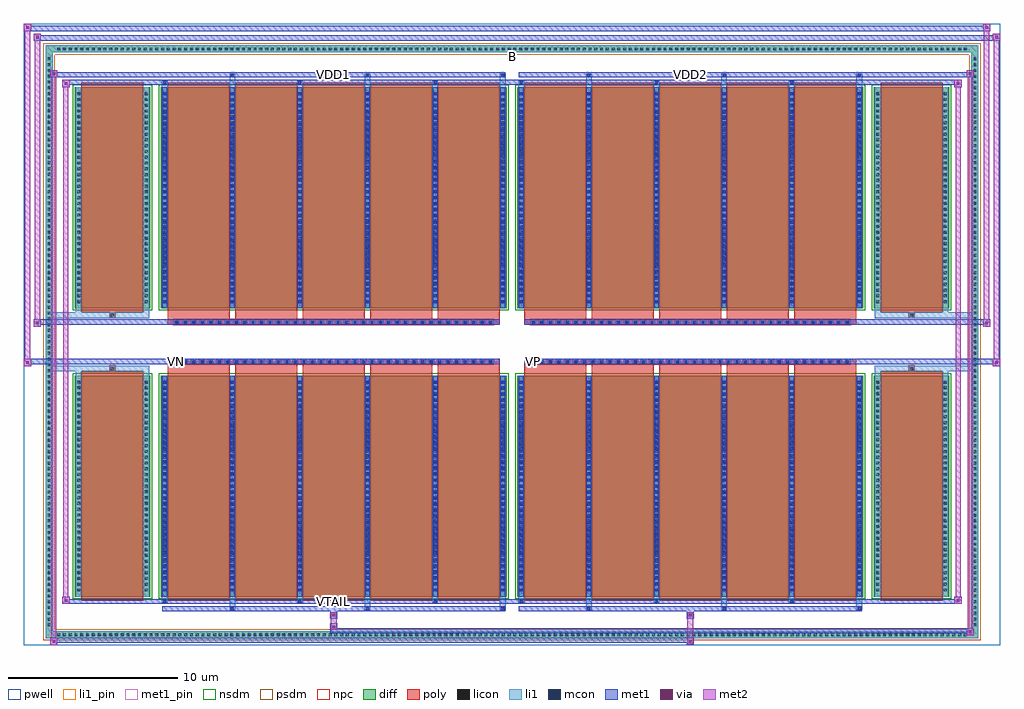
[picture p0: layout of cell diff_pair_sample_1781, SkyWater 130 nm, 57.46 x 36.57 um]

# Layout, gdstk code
import gdstk
lib = gdstk.Library(unit=1e-6, precision=5e-09)
def R(c, l, rs):  # rectangles x0, y0, x1, y1
    for r in rs: c.add(gdstk.rectangle(r[:2], r[2:], *l))
def A(c, l, x, y, w, h, nx, ny, dx, dy):  # array of equal rectangles
    R(c, l, [(x+i*dx, y+j*dy, x+i*dx+w, y+j*dy+h) for i in range(nx) for j in range(ny)])
def P(c, l, *ps):  # polygons
    for p in ps: c.add(gdstk.Polygon(p, *l))
pwell = (64, 44)
diff = (65, 20)
poly = (66, 20)
licon = (66, 44)
li1_pin = (67, 16)
li1 = (67, 20)
mcon = (67, 44)
met1_pin = (68, 16)
met1 = (68, 20)
via = (68, 44)
met2 = (69, 20)
nsdm = (93, 44)
psdm = (94, 20)
npc = (95, 20)

diff_pair_sample_1781 = lib.new_cell('diff_pair_sample_1781')
R(diff_pair_sample_1781, pwell, [(-28.73,-17.85,28.73,18.72), (-26.05,-16.04,-0.01,-0.8), (0.01,-16.04,26.05,-0.8), (-26.05,0.8,-0.01,16.04), (0.01,0.8,26.05,16.04)])
A(diff_pair_sample_1781, diff, -26.895, -17.45, 0.41, 0.41, 158, 2, 0.34, 34.49)
A(diff_pair_sample_1781, diff, -27.46, -16.865, 0.41, 0.41, 1, 99, 0, 0.34)
A(diff_pair_sample_1781, diff, 27.05, -16.865, 0.41, 0.41, 1, 99, 0, 0.34)
R(diff_pair_sample_1781, diff, [(-26.895,-17.45,26.895,-17.04), (-27.46,-16.865,-27.05,16.865), (27.05,-16.865,27.46,16.865), (-25.74,-14.995,-21.31,-1.985), (-20.67,-14.995,-0.32,-1.985), (0.32,-14.995,20.67,-1.985), (21.31,-14.995,25.74,-1.985), (-25.74,1.985,-21.31,14.995), (-20.67,1.985,-0.32,14.995), (0.32,1.985,20.67,14.995), (21.31,1.985,25.74,14.995), (-26.895,17.04,26.895,17.45)])
P(diff_pair_sample_1781, diff, [(27.46,17.45),(-27.46,17.45),(-27.46,-17.04),(-27.05,-17.04),(-27.05,17.04),(27.05,17.04),(27.05,-17.04),(-27.05,-17.04),(-27.46,-17.04),(-27.46,-17.45),(27.46,-17.45)])
A(diff_pair_sample_1781, poly, -20.28, -15.245, 3.65, 13.51, 5, 2, 3.98, 16.98)
A(diff_pair_sample_1781, poly, 0.71, -15.245, 3.65, 13.51, 5, 2, 3.98, 16.98)
A(diff_pair_sample_1781, poly, -20.28, -1.735, 3.65, 0.405, 5, 2, 3.98, 3.065)
A(diff_pair_sample_1781, poly, 0.71, -1.735, 3.65, 0.405, 5, 2, 3.98, 3.065)
A(diff_pair_sample_1781, poly, -19.91, -1.33, 0.33, 0.33, 38, 2, 0.5, 2.33)
A(diff_pair_sample_1781, poly, 1.08, -1.33, 0.33, 0.33, 38, 2, 0.5, 2.33)
R(diff_pair_sample_1781, poly, [(-25.35,-15.245,-21.7,-1.735), (21.7,-15.245,25.35,-1.735), (-23.69,-1.735,-23.36,-1.405), (-23.69,-1.735,-23.36,-1.405), (23.36,-1.735,23.69,-1.405), (23.36,-1.735,23.69,-1.405), (-20.28,-1.33,-0.71,-1), (0.71,-1.33,20.28,-1), (-20.28,1,-0.71,1.33), (0.71,1,20.28,1.33), (-23.69,1.405,-23.36,1.735), (-23.69,1.405,-23.36,1.735), (23.36,1.405,23.69,1.735), (23.36,1.405,23.69,1.735), (-25.35,1.735,-21.7,15.245), (21.7,1.735,25.35,15.245)])
A(diff_pair_sample_1781, licon, -26.775, -17.33, 0.17, 0.17, 158, 2, 0.34, 34.49)
A(diff_pair_sample_1781, licon, -27.34, -16.745, 0.17, 0.17, 1, 99, 0, 0.34)
A(diff_pair_sample_1781, licon, 27.17, -16.745, 0.17, 0.17, 1, 99, 0, 0.34)
A(diff_pair_sample_1781, licon, -25.6, -14.695, 0.17, 0.17, 1, 37, 0, 0.34)
A(diff_pair_sample_1781, licon, -21.62, -14.695, 0.17, 0.17, 1, 37, 0, 0.34)
A(diff_pair_sample_1781, licon, -20.53, -14.695, 0.17, 0.17, 6, 37, 3.98, 0.34)
A(diff_pair_sample_1781, licon, 0.46, -14.695, 0.17, 0.17, 6, 37, 3.98, 0.34)
A(diff_pair_sample_1781, licon, 21.45, -14.695, 0.17, 0.17, 1, 37, 0, 0.34)
A(diff_pair_sample_1781, licon, 25.43, -14.695, 0.17, 0.17, 1, 37, 0, 0.34)
A(diff_pair_sample_1781, licon, -19.83, -1.25, 0.17, 0.17, 38, 2, 0.5, 2.33)
A(diff_pair_sample_1781, licon, 1.16, -1.25, 0.17, 0.17, 38, 2, 0.5, 2.33)
A(diff_pair_sample_1781, licon, -25.6, 2.285, 0.17, 0.17, 1, 37, 0, 0.34)
A(diff_pair_sample_1781, licon, -21.62, 2.285, 0.17, 0.17, 1, 37, 0, 0.34)
A(diff_pair_sample_1781, licon, -20.53, 2.285, 0.17, 0.17, 6, 37, 3.98, 0.34)
A(diff_pair_sample_1781, licon, 0.46, 2.285, 0.17, 0.17, 6, 37, 3.98, 0.34)
A(diff_pair_sample_1781, licon, 21.45, 2.285, 0.17, 0.17, 1, 37, 0, 0.34)
A(diff_pair_sample_1781, licon, 25.43, 2.285, 0.17, 0.17, 1, 37, 0, 0.34)
R(diff_pair_sample_1781, licon, [(-23.61,-1.655,-23.44,-1.485), (23.44,-1.655,23.61,-1.485), (-23.61,1.485,-23.44,1.655), (23.44,1.485,23.61,1.655)])
R(diff_pair_sample_1781, li1_pin, [(-0.25,16.54,0.25,17.04)])
A(diff_pair_sample_1781, li1, -26.855, -17.41, 0.33, 0.33, 158, 2, 0.34, 34.49)
A(diff_pair_sample_1781, li1, -27.42, -16.825, 0.33, 0.33, 1, 99, 0, 0.34)
A(diff_pair_sample_1781, li1, 27.09, -16.825, 0.33, 0.33, 1, 99, 0, 0.34)
A(diff_pair_sample_1781, li1, -16.63, -15.8, 0.33, 0.805, 3, 2, 7.96, 30.795)
A(diff_pair_sample_1781, li1, -16.55, -15.8, 0.17, 0.17, 3, 2, 7.96, 31.43)
A(diff_pair_sample_1781, li1, 4.36, -15.8, 0.33, 0.805, 3, 2, 7.96, 30.795)
A(diff_pair_sample_1781, li1, 4.44, -15.8, 0.17, 0.17, 3, 2, 7.96, 31.43)
A(diff_pair_sample_1781, li1, -20.61, -15.37, 0.33, 0.375, 3, 2, 7.96, 30.365)
A(diff_pair_sample_1781, li1, -20.53, -15.37, 0.17, 0.17, 3, 2, 7.96, 30.57)
A(diff_pair_sample_1781, li1, 0.38, -15.37, 0.33, 0.375, 3, 2, 7.96, 30.365)
A(diff_pair_sample_1781, li1, 0.46, -15.37, 0.17, 0.17, 3, 2, 7.96, 30.57)
A(diff_pair_sample_1781, li1, -20.61, -14.995, 0.33, 13.01, 6, 2, 3.98, 16.98)
A(diff_pair_sample_1781, li1, 0.38, -14.995, 0.33, 13.01, 6, 2, 3.98, 16.98)
A(diff_pair_sample_1781, li1, -25.68, -14.775, 0.33, 0.33, 1, 37, 0, 0.34)
A(diff_pair_sample_1781, li1, -21.7, -14.775, 0.33, 0.33, 1, 37, 0, 0.34)
A(diff_pair_sample_1781, li1, -20.61, -14.775, 0.33, 0.33, 6, 37, 3.98, 0.34)
A(diff_pair_sample_1781, li1, 0.38, -14.775, 0.33, 0.33, 6, 37, 3.98, 0.34)
A(diff_pair_sample_1781, li1, 21.37, -14.775, 0.33, 0.33, 1, 37, 0, 0.34)
A(diff_pair_sample_1781, li1, 25.35, -14.775, 0.33, 0.33, 1, 37, 0, 0.34)
A(diff_pair_sample_1781, li1, -20.53, -14.695, 0.17, 0.17, 6, 35, 3.98, 0.36)
A(diff_pair_sample_1781, li1, -20.53, -14.695, 0.17, 12.41, 6, 2, 3.98, 16.98)
A(diff_pair_sample_1781, li1, 0.46, -14.695, 0.17, 0.17, 6, 35, 3.98, 0.36)
A(diff_pair_sample_1781, li1, 0.46, -14.695, 0.17, 12.41, 6, 2, 3.98, 16.98)
A(diff_pair_sample_1781, li1, -19.91, -1.33, 0.33, 0.33, 38, 2, 0.5, 2.33)
A(diff_pair_sample_1781, li1, 1.08, -1.33, 0.33, 0.33, 38, 2, 0.5, 2.33)
A(diff_pair_sample_1781, li1, -25.68, 2.205, 0.33, 0.33, 1, 37, 0, 0.34)
A(diff_pair_sample_1781, li1, -21.7, 2.205, 0.33, 0.33, 1, 37, 0, 0.34)
A(diff_pair_sample_1781, li1, -20.61, 2.205, 0.33, 0.33, 6, 37, 3.98, 0.34)
A(diff_pair_sample_1781, li1, 0.38, 2.205, 0.33, 0.33, 6, 37, 3.98, 0.34)
A(diff_pair_sample_1781, li1, 21.37, 2.205, 0.33, 0.33, 1, 37, 0, 0.34)
A(diff_pair_sample_1781, li1, 25.35, 2.205, 0.33, 0.33, 1, 37, 0, 0.34)
A(diff_pair_sample_1781, li1, -20.53, 2.285, 0.17, 0.17, 6, 35, 3.98, 0.36)
A(diff_pair_sample_1781, li1, 0.46, 2.285, 0.17, 0.17, 6, 35, 3.98, 0.36)
R(diff_pair_sample_1781, li1, [(-27.46,-17.45,-27.05,-17.04), (-27.46,-17.45,-27.05,-17.04), (-27.05,-17.45,27.05,-17.04), (27.05,-17.45,27.46,-17.04), (27.05,-17.45,27.46,-17.04), (-27.46,-17.04,-27.05,17.04), (27.05,-17.04,27.46,17.04), (-25.68,-14.995,-25.35,-1.985), (-21.7,-14.995,-21.37,-1.985), (21.37,-14.995,21.7,-1.985), (25.35,-14.995,25.68,-1.985), (-25.68,-1.985,-25.35,-1.405), (-21.7,-1.985,-21.37,-1.405), (21.37,-1.985,21.7,-1.405), (25.35,-1.985,25.68,-1.405), (-27.46,-1.735,-23.69,-1.405), (-25.68,-1.735,-23.69,-1.405), (-23.69,-1.735,-23.36,-1.405), (-23.36,-1.735,-21.37,-1.405), (21.37,-1.735,23.36,-1.405), (23.36,-1.735,23.69,-1.405), (23.36,-1.735,27.46,-1.405), (23.69,-1.735,25.68,-1.405), (-27.46,1.405,-23.69,1.735), (-25.68,1.405,-23.69,1.735), (-25.68,1.405,-25.35,1.985), (-23.69,1.405,-23.36,1.735), (-23.36,1.405,-21.37,1.735), (-21.7,1.405,-21.37,1.985), (21.37,1.405,23.36,1.735), (21.37,1.405,21.7,1.985), (23.36,1.405,23.69,1.735), (23.36,1.405,27.46,1.735), (23.69,1.405,25.68,1.735), (25.35,1.405,25.68,1.985), (-25.68,1.985,-25.35,14.995), (-21.7,1.985,-21.37,14.995), (21.37,1.985,21.7,14.995), (25.35,1.985,25.68,14.995), (-27.46,17.04,-27.05,17.45), (-27.46,17.04,-27.05,17.45), (-27.05,17.04,27.05,17.45), (27.05,17.04,27.46,17.45), (27.05,17.04,27.46,17.45)])
A(diff_pair_sample_1781, mcon, -16.55, -15.8, 0.17, 0.17, 3, 2, 7.96, 31.43)
A(diff_pair_sample_1781, mcon, 4.44, -15.8, 0.17, 0.17, 3, 2, 7.96, 31.43)
A(diff_pair_sample_1781, mcon, -20.53, -15.37, 0.17, 0.17, 3, 2, 7.96, 30.57)
A(diff_pair_sample_1781, mcon, 0.46, -15.37, 0.17, 0.17, 3, 2, 7.96, 30.57)
A(diff_pair_sample_1781, mcon, -20.53, -14.695, 0.17, 0.17, 6, 35, 3.98, 0.36)
A(diff_pair_sample_1781, mcon, 0.46, -14.695, 0.17, 0.17, 6, 35, 3.98, 0.36)
A(diff_pair_sample_1781, mcon, -19.83, -1.25, 0.17, 0.17, 38, 2, 0.5, 2.33)
A(diff_pair_sample_1781, mcon, 1.16, -1.25, 0.17, 0.17, 38, 2, 0.5, 2.33)
A(diff_pair_sample_1781, mcon, -20.53, 2.285, 0.17, 0.17, 6, 35, 3.98, 0.36)
A(diff_pair_sample_1781, mcon, 0.46, 2.285, 0.17, 0.17, 6, 35, 3.98, 0.36)
R(diff_pair_sample_1781, met1_pin, [(-10.63,-15.41,-10.36,-15.14), (-19.88,-1.29,-19.61,-1.02), (1.11,-1.29,1.38,-1.02), (-10.63,15.59,-10.36,15.86), (10.36,15.59,10.63,15.86)])
A(diff_pair_sample_1781, met1, -16.61, -15.86, 0.29, 0.29, 3, 2, 7.96, 31.43)
A(diff_pair_sample_1781, met1, 4.38, -15.86, 0.29, 0.29, 3, 2, 7.96, 31.43)
A(diff_pair_sample_1781, met1, -20.59, -15.43, 0.29, 0.29, 3, 2, 7.96, 30.57)
A(diff_pair_sample_1781, met1, 0.4, -15.43, 0.29, 0.29, 3, 2, 7.96, 30.57)
A(diff_pair_sample_1781, met1, -20.59, -14.995, 0.29, 13.01, 6, 2, 3.98, 16.98)
A(diff_pair_sample_1781, met1, 0.4, -14.995, 0.29, 13.01, 6, 2, 3.98, 16.98)
A(diff_pair_sample_1781, met1, -20.59, -14.755, 0.29, 0.29, 6, 35, 3.98, 0.36)
A(diff_pair_sample_1781, met1, 0.4, -14.755, 0.29, 0.29, 6, 35, 3.98, 0.36)
A(diff_pair_sample_1781, met1, -19.89, -1.31, 0.29, 0.29, 38, 2, 0.5, 2.33)
A(diff_pair_sample_1781, met1, 1.1, -1.31, 0.29, 0.29, 38, 2, 0.5, 2.33)
A(diff_pair_sample_1781, met1, -20.59, 2.225, 0.29, 0.29, 6, 35, 3.98, 0.36)
A(diff_pair_sample_1781, met1, 0.4, 2.225, 0.29, 0.29, 6, 35, 3.98, 0.36)
R(diff_pair_sample_1781, met1, [(-27.19,-17.85,-26.76,-17.42), (10.28,-17.85,10.71,-17.42), (-27.19,-17.71,10.71,-17.42), (26.76,-17.28,27.19,-16.85), (-10.71,-17.14,27.19,-16.85), (-10.71,-17,-10.28,-16.57), (-10.71,-16.29,-10.28,-15.86), (10.28,-16.29,10.71,-15.86), (-20.59,-15.86,-0.4,-15.57), (0.4,-15.86,20.59,-15.57), (-26.48,-15.43,-26.05,-15), (-26.48,-15.43,-20.59,-15.14), (-20.59,-15.43,-0.4,-15.14), (-0.4,-15.43,0.4,-15.14), (0.4,-15.43,20.59,-15.14), (20.59,-15.43,26.48,-15.14), (26.05,-15.43,26.48,-15), (-28.73,-1.43,-28.3,-1), (28.3,-1.43,28.73,-1), (-28.73,-1.33,-0.71,-1), (-20.28,-1.33,-0.71,-1), (0.71,-1.33,20.28,-1), (0.71,-1.33,28.73,-1), (-28.16,0.9,-27.73,1.33), (27.73,0.9,28.16,1.33), (-28.16,1,-20.28,1.33), (-20.28,1,-0.71,1.33), (0.71,1,20.28,1.33), (20.28,1,28.16,1.33), (-26.48,15,-26.05,15.43), (26.05,15,26.48,15.43), (-26.48,15.14,-20.59,15.43), (-20.59,15.14,-0.4,15.43), (-0.4,15.14,0.4,15.43), (0.4,15.14,20.59,15.43), (20.59,15.14,26.48,15.43), (-27.19,15.57,-26.76,16), (-27.19,15.57,-20.59,15.86), (-20.59,15.57,-0.4,15.86), (0.4,15.57,20.59,15.86), (20.59,15.57,27.19,15.86), (26.76,15.57,27.19,16), (-28.16,17.72,-27.73,18.15), (-28.16,17.72,-26.05,18.05), (-26.05,17.72,26.05,18.05), (26.05,17.72,28.73,18.05), (28.3,17.72,28.73,18.15), (-28.73,18.29,-28.3,18.72), (-28.73,18.29,-26.05,18.62), (-26.05,18.29,26.05,18.62), (26.05,18.29,28.16,18.62), (27.73,18.29,28.16,18.72)])
R(diff_pair_sample_1781, via, [(-27.05,-17.71,-26.9,-17.56), (10.42,-17.71,10.57,-17.56), (26.9,-17.14,27.05,-16.99), (-10.57,-16.86,-10.42,-16.71), (-10.57,-16.15,-10.42,-16), (10.42,-16.15,10.57,-16), (-26.34,-15.29,-26.19,-15.14), (26.19,-15.29,26.34,-15.14), (-28.59,-1.29,-28.44,-1.14), (28.44,-1.29,28.59,-1.14), (-28.02,1.04,-27.87,1.19), (27.87,1.04,28.02,1.19), (-26.34,15.14,-26.19,15.29), (26.19,15.14,26.34,15.29), (-27.05,15.71,-26.9,15.86), (26.9,15.71,27.05,15.86), (-28.02,17.86,-27.87,18.01), (28.44,17.86,28.59,18.01), (-28.59,18.43,-28.44,18.58), (27.87,18.43,28.02,18.58)])
R(diff_pair_sample_1781, met2, [(-27.19,-17.85,-26.76,-17.42), (-27.12,-17.85,-26.83,16), (-26.83,-17.85,-26.76,-17.42), (-27.14,-17.8,-26.81,-17.47), (10.33,-17.8,10.66,-17.47), (10.33,-17.47,10.66,-16.24), (26.76,-17.28,27.19,-16.85), (26.83,-17.28,27.12,16), (27.12,-17.28,27.19,-16.85), (26.81,-17.23,27.14,-16.9), (-10.66,-16.95,-10.33,-16.62), (-10.66,-16.62,-10.33,-16.24), (-10.66,-16.24,-10.33,-15.91), (10.33,-16.24,10.66,-15.91), (-26.48,-15.43,-26.05,-15), (-26.41,-15.43,-26.12,15.43), (-26.12,-15.43,-26.05,-15), (26.05,-15.43,26.48,-15), (26.12,-15.43,26.41,15.43), (26.41,-15.43,26.48,-15), (-26.43,-15.38,-26.1,-15.05), (26.1,-15.38,26.43,-15.05), (-28.73,-1.43,-28.3,-1), (-28.68,-1.43,-28.35,18.72), (-28.35,-1.43,-28.3,-1), (28.3,-1.43,28.73,-1), (28.35,-1.43,28.68,18.15), (28.68,-1.43,28.73,-1), (-28.68,-1.38,-28.35,-1.05), (28.35,-1.38,28.68,-1.05), (-28.16,0.9,-27.73,1.33), (-28.11,0.9,-27.78,18.15), (-27.78,0.9,-27.73,1.33), (27.73,0.9,28.16,1.33), (27.78,0.9,28.11,18.72), (28.11,0.9,28.16,1.33), (-28.11,0.95,-27.78,1.28), (27.78,0.95,28.11,1.28), (-26.48,15,-26.05,15.43), (-26.12,15,-26.05,15.43), (26.05,15,26.48,15.43), (26.41,15,26.48,15.43), (-26.43,15.05,-26.1,15.38), (26.1,15.05,26.43,15.38), (-27.19,15.57,-26.76,16), (-26.83,15.57,-26.76,16), (26.76,15.57,27.19,16), (27.12,15.57,27.19,16), (-27.14,15.62,-26.81,15.95), (26.81,15.62,27.14,15.95), (-28.16,17.72,-27.73,18.15), (-27.78,17.72,-27.73,18.15), (28.3,17.72,28.73,18.15), (28.68,17.72,28.73,18.15), (-28.11,17.77,-27.78,18.1), (28.35,17.77,28.68,18.1), (-28.73,18.29,-28.3,18.72), (-28.35,18.29,-28.3,18.72), (27.73,18.29,28.16,18.72), (28.11,18.29,28.16,18.72), (-28.68,18.34,-28.35,18.67), (27.78,18.34,28.11,18.67)])
R(diff_pair_sample_1781, nsdm, [(-25.87,-15.125,-21.18,-1.855), (-20.8,-15.125,-0.19,-1.855), (0.19,-15.125,20.8,-1.855), (21.18,-15.125,25.87,-1.855), (-25.87,1.855,-21.18,15.125), (-20.8,1.855,-0.19,15.125), (0.19,1.855,20.8,15.125), (21.18,1.855,25.87,15.125)])
P(diff_pair_sample_1781, psdm, [(27.59,17.58),(-27.59,17.58),(-27.59,-16.91),(-26.92,-16.91),(-26.92,16.91),(26.92,16.91),(26.92,-16.91),(-26.92,-16.91),(-27.59,-16.91),(-27.59,-17.58),(27.59,-17.58)])
A(diff_pair_sample_1781, npc, -19.93, -1.35, 0.37, 0.37, 38, 2, 0.5, 2.33)
A(diff_pair_sample_1781, npc, 1.06, -1.35, 0.37, 0.37, 38, 2, 0.5, 2.33)
R(diff_pair_sample_1781, npc, [(-23.71,-1.755,-23.34,-1.385), (23.34,-1.755,23.71,-1.385), (-19.93,-1.35,-19.06,-0.98), (-19.93,-1.35,-19.06,-0.98), (-19.43,-1.35,-18.56,-0.98), (-19.43,-1.35,-18.56,-0.98), (-18.93,-1.35,-18.06,-0.98), (-18.93,-1.35,-18.06,-0.98), (-18.43,-1.35,-17.56,-0.98), (-18.43,-1.35,-17.56,-0.98), (-17.93,-1.35,-17.06,-0.98), (-17.93,-1.35,-17.06,-0.98), (-17.43,-1.35,-16.56,-0.98), (-17.43,-1.35,-16.56,-0.98), (-16.93,-1.35,-16.06,-0.98), (-16.93,-1.35,-16.06,-0.98), (-16.43,-1.35,-15.56,-0.98), (-16.43,-1.35,-15.56,-0.98), (-15.93,-1.35,-15.06,-0.98), (-15.93,-1.35,-15.06,-0.98), (-15.43,-1.35,-14.56,-0.98), (-15.43,-1.35,-14.56,-0.98), (-14.93,-1.35,-14.06,-0.98), (-14.93,-1.35,-14.06,-0.98), (-14.43,-1.35,-13.56,-0.98), (-14.43,-1.35,-13.56,-0.98), (-13.93,-1.35,-13.06,-0.98), (-13.93,-1.35,-13.06,-0.98), (-13.43,-1.35,-12.56,-0.98), (-13.43,-1.35,-12.56,-0.98), (-12.93,-1.35,-12.06,-0.98), (-12.93,-1.35,-12.06,-0.98), (-12.43,-1.35,-11.56,-0.98), (-12.43,-1.35,-11.56,-0.98), (-11.93,-1.35,-11.06,-0.98), (-11.93,-1.35,-11.06,-0.98), (-11.43,-1.35,-10.56,-0.98), (-11.43,-1.35,-10.56,-0.98), (-10.93,-1.35,-10.06,-0.98), (-10.93,-1.35,-10.06,-0.98), (-10.43,-1.35,-9.56,-0.98), (-10.43,-1.35,-9.56,-0.98), (-9.93,-1.35,-9.06,-0.98), (-9.93,-1.35,-9.06,-0.98), (-9.43,-1.35,-8.56,-0.98), (-9.43,-1.35,-8.56,-0.98), (-8.93,-1.35,-8.06,-0.98), (-8.93,-1.35,-8.06,-0.98), (-8.43,-1.35,-7.56,-0.98), (-8.43,-1.35,-7.56,-0.98), (-7.93,-1.35,-7.06,-0.98), (-7.93,-1.35,-7.06,-0.98), (-7.43,-1.35,-6.56,-0.98), (-7.43,-1.35,-6.56,-0.98), (-6.93,-1.35,-6.06,-0.98), (-6.93,-1.35,-6.06,-0.98), (-6.43,-1.35,-5.56,-0.98), (-6.43,-1.35,-5.56,-0.98), (-5.93,-1.35,-5.06,-0.98), (-5.93,-1.35,-5.06,-0.98), (-5.43,-1.35,-4.56,-0.98), (-5.43,-1.35,-4.56,-0.98), (-4.93,-1.35,-4.06,-0.98), (-4.93,-1.35,-4.06,-0.98), (-4.43,-1.35,-3.56,-0.98), (-4.43,-1.35,-3.56,-0.98), (-3.93,-1.35,-3.06,-0.98), (-3.93,-1.35,-3.06,-0.98), (-3.43,-1.35,-2.56,-0.98), (-3.43,-1.35,-2.56,-0.98), (-2.93,-1.35,-2.06,-0.98), (-2.93,-1.35,-2.06,-0.98), (-2.43,-1.35,-1.56,-0.98), (-2.43,-1.35,-1.56,-0.98), (-1.93,-1.35,-1.06,-0.98), (-1.93,-1.35,-1.06,-0.98), (1.06,-1.35,1.93,-0.98), (1.06,-1.35,1.93,-0.98), (1.56,-1.35,2.43,-0.98), (1.56,-1.35,2.43,-0.98), (2.06,-1.35,2.93,-0.98), (2.06,-1.35,2.93,-0.98), (2.56,-1.35,3.43,-0.98), (2.56,-1.35,3.43,-0.98), (3.06,-1.35,3.93,-0.98), (3.06,-1.35,3.93,-0.98), (3.56,-1.35,4.43,-0.98), (3.56,-1.35,4.43,-0.98), (4.06,-1.35,4.93,-0.98), (4.06,-1.35,4.93,-0.98), (4.56,-1.35,5.43,-0.98), (4.56,-1.35,5.43,-0.98), (5.06,-1.35,5.93,-0.98), (5.06,-1.35,5.93,-0.98), (5.56,-1.35,6.43,-0.98), (5.56,-1.35,6.43,-0.98), (6.06,-1.35,6.93,-0.98), (6.06,-1.35,6.93,-0.98), (6.56,-1.35,7.43,-0.98), (6.56,-1.35,7.43,-0.98), (7.06,-1.35,7.93,-0.98), (7.06,-1.35,7.93,-0.98), (7.56,-1.35,8.43,-0.98), (7.56,-1.35,8.43,-0.98), (8.06,-1.35,8.93,-0.98), (8.06,-1.35,8.93,-0.98), (8.56,-1.35,9.43,-0.98), (8.56,-1.35,9.43,-0.98), (9.06,-1.35,9.93,-0.98), (9.06,-1.35,9.93,-0.98), (9.56,-1.35,10.43,-0.98), (9.56,-1.35,10.43,-0.98), (10.06,-1.35,10.93,-0.98), (10.06,-1.35,10.93,-0.98), (10.56,-1.35,11.43,-0.98), (10.56,-1.35,11.43,-0.98), (11.06,-1.35,11.93,-0.98), (11.06,-1.35,11.93,-0.98), (11.56,-1.35,12.43,-0.98), (11.56,-1.35,12.43,-0.98), (12.06,-1.35,12.93,-0.98), (12.06,-1.35,12.93,-0.98), (12.56,-1.35,13.43,-0.98), (12.56,-1.35,13.43,-0.98), (13.06,-1.35,13.93,-0.98), (13.06,-1.35,13.93,-0.98), (13.56,-1.35,14.43,-0.98), (13.56,-1.35,14.43,-0.98), (14.06,-1.35,14.93,-0.98), (14.06,-1.35,14.93,-0.98), (14.56,-1.35,15.43,-0.98), (14.56,-1.35,15.43,-0.98), (15.06,-1.35,15.93,-0.98), (15.06,-1.35,15.93,-0.98), (15.56,-1.35,16.43,-0.98), (15.56,-1.35,16.43,-0.98), (16.06,-1.35,16.93,-0.98), (16.06,-1.35,16.93,-0.98), (16.56,-1.35,17.43,-0.98), (16.56,-1.35,17.43,-0.98), (17.06,-1.35,17.93,-0.98), (17.06,-1.35,17.93,-0.98), (17.56,-1.35,18.43,-0.98), (17.56,-1.35,18.43,-0.98), (18.06,-1.35,18.93,-0.98), (18.06,-1.35,18.93,-0.98), (18.56,-1.35,19.43,-0.98), (18.56,-1.35,19.43,-0.98), (19.06,-1.35,19.93,-0.98), (19.06,-1.35,19.93,-0.98), (-19.93,0.98,-19.06,1.35), (-19.93,0.98,-19.06,1.35), (-19.43,0.98,-18.56,1.35), (-19.43,0.98,-18.56,1.35), (-18.93,0.98,-18.06,1.35), (-18.93,0.98,-18.06,1.35), (-18.43,0.98,-17.56,1.35), (-18.43,0.98,-17.56,1.35), (-17.93,0.98,-17.06,1.35), (-17.93,0.98,-17.06,1.35), (-17.43,0.98,-16.56,1.35), (-17.43,0.98,-16.56,1.35), (-16.93,0.98,-16.06,1.35), (-16.93,0.98,-16.06,1.35), (-16.43,0.98,-15.56,1.35), (-16.43,0.98,-15.56,1.35), (-15.93,0.98,-15.06,1.35), (-15.93,0.98,-15.06,1.35), (-15.43,0.98,-14.56,1.35), (-15.43,0.98,-14.56,1.35), (-14.93,0.98,-14.06,1.35), (-14.93,0.98,-14.06,1.35), (-14.43,0.98,-13.56,1.35), (-14.43,0.98,-13.56,1.35), (-13.93,0.98,-13.06,1.35), (-13.93,0.98,-13.06,1.35), (-13.43,0.98,-12.56,1.35), (-13.43,0.98,-12.56,1.35), (-12.93,0.98,-12.06,1.35), (-12.93,0.98,-12.06,1.35), (-12.43,0.98,-11.56,1.35), (-12.43,0.98,-11.56,1.35), (-11.93,0.98,-11.06,1.35), (-11.93,0.98,-11.06,1.35), (-11.43,0.98,-10.56,1.35), (-11.43,0.98,-10.56,1.35), (-10.93,0.98,-10.06,1.35), (-10.93,0.98,-10.06,1.35), (-10.43,0.98,-9.56,1.35), (-10.43,0.98,-9.56,1.35), (-9.93,0.98,-9.06,1.35), (-9.93,0.98,-9.06,1.35), (-9.43,0.98,-8.56,1.35), (-9.43,0.98,-8.56,1.35), (-8.93,0.98,-8.06,1.35), (-8.93,0.98,-8.06,1.35), (-8.43,0.98,-7.56,1.35), (-8.43,0.98,-7.56,1.35), (-7.93,0.98,-7.06,1.35), (-7.93,0.98,-7.06,1.35), (-7.43,0.98,-6.56,1.35), (-7.43,0.98,-6.56,1.35), (-6.93,0.98,-6.06,1.35), (-6.93,0.98,-6.06,1.35), (-6.43,0.98,-5.56,1.35), (-6.43,0.98,-5.56,1.35), (-5.93,0.98,-5.06,1.35), (-5.93,0.98,-5.06,1.35), (-5.43,0.98,-4.56,1.35), (-5.43,0.98,-4.56,1.35), (-4.93,0.98,-4.06,1.35), (-4.93,0.98,-4.06,1.35), (-4.43,0.98,-3.56,1.35), (-4.43,0.98,-3.56,1.35), (-3.93,0.98,-3.06,1.35), (-3.93,0.98,-3.06,1.35), (-3.43,0.98,-2.56,1.35), (-3.43,0.98,-2.56,1.35), (-2.93,0.98,-2.06,1.35), (-2.93,0.98,-2.06,1.35), (-2.43,0.98,-1.56,1.35), (-2.43,0.98,-1.56,1.35), (-1.93,0.98,-1.06,1.35), (-1.93,0.98,-1.06,1.35), (1.06,0.98,1.93,1.35), (1.06,0.98,1.93,1.35), (1.56,0.98,2.43,1.35), (1.56,0.98,2.43,1.35), (2.06,0.98,2.93,1.35), (2.06,0.98,2.93,1.35), (2.56,0.98,3.43,1.35), (2.56,0.98,3.43,1.35), (3.06,0.98,3.93,1.35), (3.06,0.98,3.93,1.35), (3.56,0.98,4.43,1.35), (3.56,0.98,4.43,1.35), (4.06,0.98,4.93,1.35), (4.06,0.98,4.93,1.35), (4.56,0.98,5.43,1.35), (4.56,0.98,5.43,1.35), (5.06,0.98,5.93,1.35), (5.06,0.98,5.93,1.35), (5.56,0.98,6.43,1.35), (5.56,0.98,6.43,1.35), (6.06,0.98,6.93,1.35), (6.06,0.98,6.93,1.35), (6.56,0.98,7.43,1.35), (6.56,0.98,7.43,1.35), (7.06,0.98,7.93,1.35), (7.06,0.98,7.93,1.35), (7.56,0.98,8.43,1.35), (7.56,0.98,8.43,1.35), (8.06,0.98,8.93,1.35), (8.06,0.98,8.93,1.35), (8.56,0.98,9.43,1.35), (8.56,0.98,9.43,1.35), (9.06,0.98,9.93,1.35), (9.06,0.98,9.93,1.35), (9.56,0.98,10.43,1.35), (9.56,0.98,10.43,1.35), (10.06,0.98,10.93,1.35), (10.06,0.98,10.93,1.35), (10.56,0.98,11.43,1.35), (10.56,0.98,11.43,1.35), (11.06,0.98,11.93,1.35), (11.06,0.98,11.93,1.35), (11.56,0.98,12.43,1.35), (11.56,0.98,12.43,1.35), (12.06,0.98,12.93,1.35), (12.06,0.98,12.93,1.35), (12.56,0.98,13.43,1.35), (12.56,0.98,13.43,1.35), (13.06,0.98,13.93,1.35), (13.06,0.98,13.93,1.35), (13.56,0.98,14.43,1.35), (13.56,0.98,14.43,1.35), (14.06,0.98,14.93,1.35), (14.06,0.98,14.93,1.35), (14.56,0.98,15.43,1.35), (14.56,0.98,15.43,1.35), (15.06,0.98,15.93,1.35), (15.06,0.98,15.93,1.35), (15.56,0.98,16.43,1.35), (15.56,0.98,16.43,1.35), (16.06,0.98,16.93,1.35), (16.06,0.98,16.93,1.35), (16.56,0.98,17.43,1.35), (16.56,0.98,17.43,1.35), (17.06,0.98,17.93,1.35), (17.06,0.98,17.93,1.35), (17.56,0.98,18.43,1.35), (17.56,0.98,18.43,1.35), (18.06,0.98,18.93,1.35), (18.06,0.98,18.93,1.35), (18.56,0.98,19.43,1.35), (18.56,0.98,19.43,1.35), (19.06,0.98,19.93,1.35), (19.06,0.98,19.93,1.35), (-23.71,1.385,-23.34,1.755), (23.34,1.385,23.71,1.755)])
diff_pair_sample_1781.add(gdstk.Label('VTAIL', (-10.495,-15.275), layer=68, texttype=5))
diff_pair_sample_1781.add(gdstk.Label('VN', (-19.745,-1.155), layer=68, texttype=5))
diff_pair_sample_1781.add(gdstk.Label('VP', (1.245,-1.155), layer=68, texttype=5))
diff_pair_sample_1781.add(gdstk.Label('B', (0,16.79), layer=67, texttype=5))
diff_pair_sample_1781.add(gdstk.Label('VDD2', (10.495,15.725), layer=68, texttype=5))
diff_pair_sample_1781.add(gdstk.Label('VDD1', (-10.495,15.725), layer=68, texttype=5))

lib.write_gds('diff_pair_sample_1781.gds')
